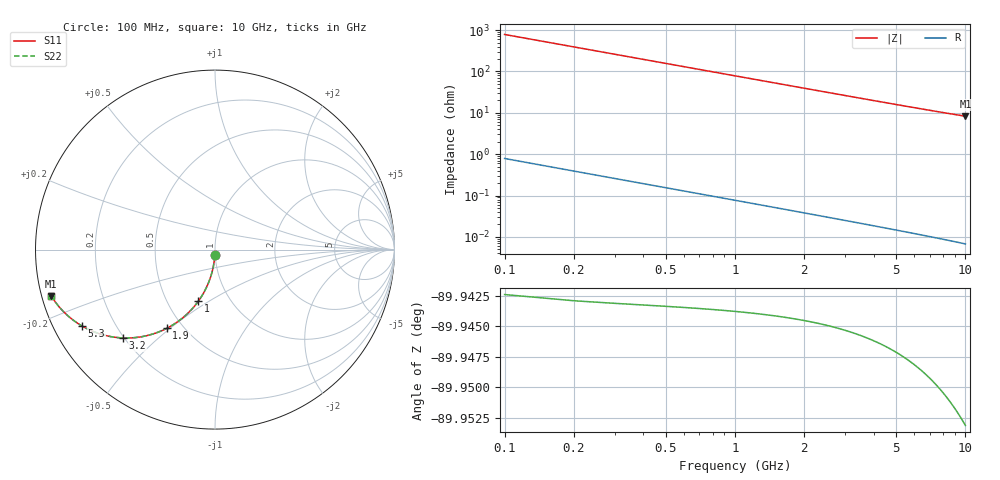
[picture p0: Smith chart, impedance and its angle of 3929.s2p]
# Hz S RI R 50.00
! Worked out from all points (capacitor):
!   100 points, 100 MHz to 10 GHz, reference 50 ohm
!   read as one part in shunt: C = 2.03 pF near 100 MHz
!   lowest |Z| = 8.28 ohm at 10 GHz (marker M1)
!   S11 on the Smith chart (normalised r, x): 100 MHz: 1.00, -0.06; 1 GHz: 0.71, -0.45; 1.9 GHz: 0.41, -0.49; 3.2 GHz: 0.20, -0.39; 5.3 GHz: 0.08, -0.26; 10 GHz: 0.03, -0.14
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1e8  -0.001 -0.0317  0.9989 -0.0321  0.9989 -0.0321  -0.001 -0.0317
2e8  -0.00408 -0.0632  0.9958 -0.064  0.9958 -0.064  -0.00408 -0.0632
3e8  -0.00914 -0.0943  0.9908 -0.0956  0.9908 -0.0956  -0.00914 -0.0943
4e8  -0.0161 -0.1248  0.9838 -0.1265  0.9838 -0.1265  -0.0161 -0.1248
5e8  -0.025 -0.1546  0.9749 -0.1567  0.9749 -0.1567  -0.025 -0.1546
6e8  -0.0355 -0.1834  0.9644 -0.1861  0.9644 -0.1861  -0.0355 -0.1834
7e8  -0.0477 -0.2113  0.9522 -0.2143  0.9522 -0.2143  -0.0477 -0.2113
8e8  -0.0614 -0.2379  0.9385 -0.2415  0.9385 -0.2415  -0.0614 -0.2379
1e9  -0.0927 -0.2874  0.9072 -0.2918  0.9072 -0.2918  -0.0927 -0.2874
1.2e9  -0.1282 -0.3313  0.8717 -0.3365  0.8717 -0.3365  -0.1282 -0.3313
1.4e9  -0.1668 -0.3692  0.8331 -0.3754  0.8331 -0.3754  -0.1668 -0.3692
1.8e9  -0.2485 -0.4277  0.7513 -0.4357  0.7513 -0.4357  -0.2485 -0.4277
1.9e9  -0.2692 -0.4389  0.7306 -0.4473  0.7306 -0.4473  -0.2692 -0.4389
2.5e9  -0.3894 -0.4816  0.6104 -0.4927  0.6104 -0.4927  -0.3894 -0.4816
3.2e9  -0.5111 -0.4923  0.4887 -0.5065  0.4887 -0.5065  -0.5111 -0.4923
3.4e9  -0.5413 -0.4902  0.4585 -0.5053  0.4585 -0.5053  -0.5413 -0.4902
4.2e9  -0.6432 -0.4691  0.3565 -0.4879  0.3565 -0.4879  -0.6432 -0.4691
5.1e9  -0.727 -0.4334  0.2726 -0.4563  0.2726 -0.4563  -0.727 -0.4334
5.3e9  -0.7421 -0.4249  0.2575 -0.4488  0.2575 -0.4488  -0.7421 -0.4249
6.7e9  -0.822 -0.3665  0.1774 -0.397  0.1774 -0.397  -0.822 -0.3665
8.4e9  -0.8797 -0.305  0.1195 -0.3436  0.1195 -0.3436  -0.8797 -0.305
1e10  -0.9126 -0.2576  0.0862 -0.3043  0.0862 -0.3043  -0.9126 -0.2576
